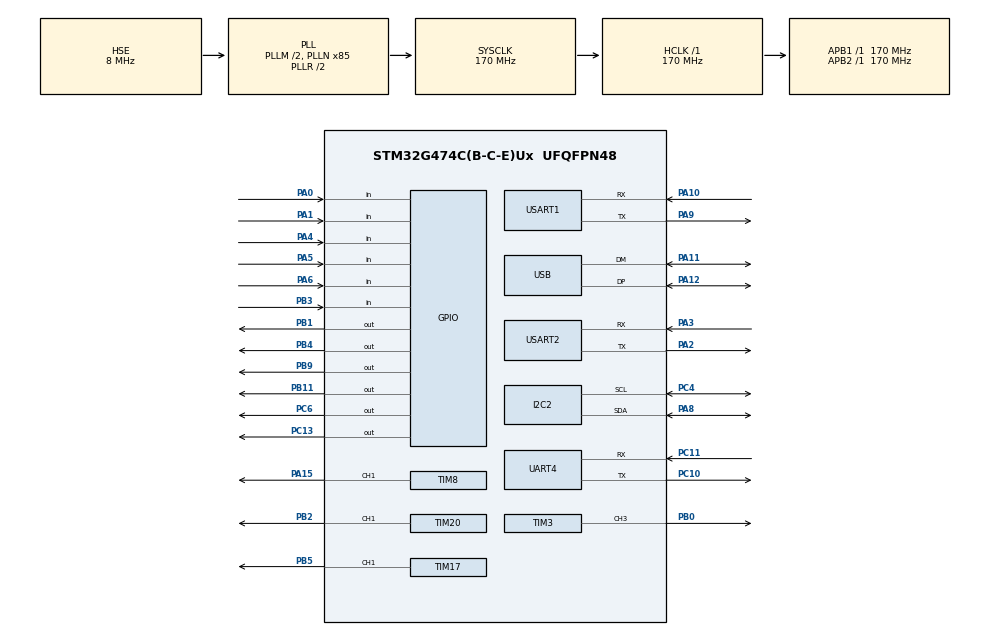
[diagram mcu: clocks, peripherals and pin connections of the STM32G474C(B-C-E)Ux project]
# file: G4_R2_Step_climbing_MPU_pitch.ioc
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I2C2.Timing=0x40B285C2
Mcu.Family=STM32G4
Mcu.Name=STM32G474C(B-C-E)Ux
Mcu.Package=UFQFPN48
NVIC.PriorityGroup=NVIC_PRIORITYGROUP_4
NVIC.UART4_IRQn=true\:0\:0\:false\:false\:true\:true\:true\:true
NVIC.USART1_IRQn=true\:0\:0\:false\:false\:true\:true\:true\:true
NVIC.USART2_IRQn=true\:0\:0\:false\:false\:true\:true\:true\:true
NVIC.USB_LP_IRQn=true\:0\:0\:false\:false\:true\:false\:true\:true
PA0.Signal=GPIO_Input
PA1.Signal=GPIO_Input
PA10.Mode=Asynchronous
PA10.Signal=USART1_RX
PA11.Mode=Device
PA11.Signal=USB_DM
PA12.Mode=Device
PA12.Signal=USB_DP
PA15.Signal=S_TIM8_CH1
PA2.Mode=Asynchronous
PA2.Signal=USART2_TX
PA3.Mode=Asynchronous
PA3.Signal=USART2_RX
PA4.Signal=GPIO_Input
PA5.Signal=GPIO_Input
PA6.Signal=GPIO_Input
PA8.Mode=I2C
PA8.Signal=I2C2_SDA
PA9.Mode=Asynchronous
PA9.Signal=USART1_TX
PB0.Signal=S_TIM3_CH3
PB1.Signal=GPIO_Output
PB11.Signal=GPIO_Output
PB2.Signal=S_TIM20_CH1
PB3.Signal=GPIO_Input
PB4.Signal=GPIO_Output
PB5.Signal=S_TIM17_CH1
PB9.Signal=GPIO_Output
PC10.Mode=Asynchronous
PC10.Signal=UART4_TX
PC11.Mode=Asynchronous
PC11.Signal=UART4_RX
PC13.Signal=GPIO_Output
PC4.Mode=I2C
PC4.Signal=I2C2_SCL
PC6.Signal=GPIO_Output
PF0-OSC_IN.Mode=HSE-External-Oscillator
PF0-OSC_IN.Signal=RCC_OSC_IN
PF1-OSC_OUT.Mode=HSE-External-Oscillator
PF1-OSC_OUT.Signal=RCC_OSC_OUT
ProjectManager.HeapSize=0x200
ProjectManager.StackSize=0x400
ProjectManager.TargetToolchain=STM32CubeIDE
RCC.ADC12Freq_Value=170000000
RCC.ADC345Freq_Value=170000000
RCC.AHBFreq_Value=170000000
RCC.APB1Freq_Value=170000000
RCC.APB1TimFreq_Value=170000000
RCC.APB2Freq_Value=170000000
RCC.APB2TimFreq_Value=170000000
RCC.CK48CLockSelection=RCC_USBCLKSOURCE_HSI48
RCC.CortexFreq_Value=170000000
RCC.EXTERNAL_CLOCK_VALUE=12288000
RCC.EnbaleCSS=true
RCC.HCLKFreq_Value=170000000
RCC.HSE_VALUE=8000000
RCC.HSI48_VALUE=48000000
RCC.HSI_VALUE=16000000
RCC.LSE_VALUE=32768
RCC.PLLM=RCC_PLLM_DIV2
RCC.PLLN=85
RCC.PLLSourceVirtual=RCC_PLLSOURCE_HSE
RCC.SYSCLKFreq_VALUE=170000000
RCC.SYSCLKSource=RCC_SYSCLKSOURCE_PLLCLK
RCC.USBFreq_Value=48000000
RCC.VCOOutputFreq_Value=340000000
SH.S_TIM17_CH1.0=TIM17_CH1,PWM Generation1 CH1
SH.S_TIM20_CH1.0=TIM20_CH1,PWM Generation1 CH1
SH.S_TIM3_CH3.0=TIM3_CH3,PWM Generation3 CH3
SH.S_TIM8_CH1.0=TIM8_CH1,PWM Generation1 CH1
TIM17.Channel=TIM_CHANNEL_1
TIM17.PeriodNoDither=500
TIM17.Prescaler=7
TIM20.Channel-PWM\ Generation1\ CH1=TIM_CHANNEL_1
TIM20.PeriodNoDither=500
TIM20.Prescaler=7
TIM3.Channel-PWM\ Generation3\ CH3=TIM_CHANNEL_3
TIM3.PeriodNoDither=500
TIM3.Prescaler=7
TIM8.Channel-PWM\ Generation1\ CH1=TIM_CHANNEL_1
TIM8.PeriodNoDither=500
TIM8.Prescaler=7
USART1.VirtualMode-Asynchronous=VM_ASYNC
USART2.VirtualMode-Asynchronous=VM_ASYNC
USB_DEVICE.CLASS_NAME_FS=CDC
USB_DEVICE.VirtualMode=Cdc
USB_DEVICE.VirtualModeFS=Cdc_FS
VP_SYS_VS_DBSignals.Mode=DisableDeadBatterySignals
VP_TIM17_VS_ClockSourceINT.Mode=Enable_Timer
VP_USB_DEVICE_VS_USB_DEVICE_CDC_FS.Mode=CDC_FS
board=custom

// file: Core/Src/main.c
/* USER CODE BEGIN Header */
/**
  ******************************************************************************
  * @file           : main.c
  * @brief          : Main program body
  ******************************************************************************
  * @attention
  *
  * Copyright (c) 2026 STMicroelectronics.
  * All rights reserved.
  *
  * This software is licensed under terms that can be found in the LICENSE file
  * in the root directory of this software component.
  * If no LICENSE file comes with this software, it is provided AS-IS.
  *
  ******************************************************************************
  */
/* USER CODE END Header */
#include "main.h"
#include "usb_device.h"

/* USER CODE BEGIN Includes */
#include "usbd_cdc_if.h"
#include "string.h"
#include "math.h"
#include "stdio.h"
/* USER CODE END Includes */

/* USER CODE BEGIN PTD */
/* ---- MPU6050 register map ---- */
#define MPU6050_ADDR        0xD0
#define WHO_AM_I_REG        0x75
#define PWR_MGMT_1_REG      0x6B
#define SMPLRT_DIV_REG      0x19
#define ACCEL_CONFIG_REG    0x1C
#define GYRO_CONFIG_REG     0x1B
#define ACCEL_XOUT_H_REG    0x3B
#define GYRO_XOUT_H_REG     0x43

#define RAD_TO_DEG  57.2957795f
#define INPUT_MAX   1000
#define PWM_MAX     999
/* USER CODE END PTD */

I2C_HandleTypeDef hi2c2;

TIM_HandleTypeDef htim3;
TIM_HandleTypeDef htim8;
TIM_HandleTypeDef htim17;
TIM_HandleTypeDef htim20;

UART_HandleTypeDef huart4;
UART_HandleTypeDef huart1;
UART_HandleTypeDef huart2;

/* USER CODE BEGIN PV */

/* ---- LIDAR 1 (USART1) ---- */
uint8_t  rx1_byte;
uint8_t  tf1_frame[9];
uint8_t  tf1_index      = 0;
volatile uint8_t  tf1_ready     = 0;
volatile uint16_t distance1_mm  = 0;

/* ---- LIDAR 2 (USART2) ---- */
uint8_t  rx2_byte;
uint8_t  tf2_frame[9];
uint8_t  tf2_index      = 0;
volatile uint8_t  tf2_ready     = 0;
volatile uint16_t distance2_mm  = 0;

/* ---- Distance display (integer + fractional metres) ---- */
uint16_t m_int1 = 0, m_frac1 = 0;
uint16_t m_int2 = 0, m_frac2 = 0;

/* ---- UART4 joystick receive ---- */
char     Rx_buff[64];
uint8_t  rx_index       = 0;
volatile uint8_t uart_line_ready = 0;

/* ---- USB joystick receive ---- */
char USB_Rx_buff[64];
volatile uint8_t usb_line_ready = 0;

/* ---- Joystick axes ---- */
int lx = 0, ly = 0, rx_joy = 0, ry = 0;   /* renamed rx → rx_joy (avoids clash with UART handle) */
int l1 = 0, r1 = 0, l2 = 0, r2 = 0;

/* ---- Mecanum motor values ---- */
int32_t        mFL, mFR, mBL, mBR;
uint16_t       pwmFL, pwmFR, pwmBL, pwmBR;
GPIO_PinState  dirFL, dirFR, dirBL, dirBR;

/* ---- MPU6050 raw ---- */
int16_t Accel_X_RAW = 0, Accel_Y_RAW = 0, Accel_Z_RAW = 0;
int16_t Gyro_X_RAW  = 0, Gyro_Y_RAW  = 0, Gyro_Z_RAW  = 0;

/* ---- MPU6050 processed ---- */
float Ax, Ay, Az;
float Gx, Gy, Gz;

/* ---- Gyro offsets (set during calibration) ---- */
float gyro_x_offset = 0.0f;
float gyro_y_offset = 0.0f;
float gyro_z_offset = 0.0f;

/* ---- Accelerometer angles ---- */
float roll_acc  = 0.0f;
float pitch_acc = 0.0f;

/* ---- Final angles (complementary filter) ---- */
float roll  = 0.0f;
float pitch = 0.0f;
float yaw   = 0.0f;

/* yaw cannot be corrected by accel — pure gyro integration */
float yaw_gyro = 0.0f;

/* Complementary filter weight (0.96 = trust gyro 96 %, accel 4 %) */
#define CF_ALPHA  0.96f

/* ---- IMU timing ---- */
uint32_t imu_last_tick = 0;
float    imu_dt        = 0.0f;

/* ---- Yaw PID ---- */
float targetYaw     = 0.0f;
float yaw_error     = 0.0f;
float yaw_prev_error= 0.0f;
float yaw_integral  = 0.0f;
uint32_t prevYawTime = 0;

float kp = 7.0f;
float ki = 0.0f;
float kd = 0.0f;

/* ---- Misc ---- */
uint8_t check = 0;
uint8_t Data  = 0;
char    cdc_buf[160];   /* single shared CDC TX buffer — sized for full debug line */
uint32_t last_cmd_time = 0;

/* Proximity Sensors */
#define PROX_FRONT_1_PORT GPIOA
#define PROX_FRONT_1_PIN  GPIO_PIN_4

#define PROX_FRONT_2_PORT GPIOA
#define PROX_FRONT_2_PIN  GPIO_PIN_6

#define PROX_REAR_1_PORT  GPIOA
#define PROX_REAR_1_PIN   GPIO_PIN_5

#define PROX_REAR_2_PORT  GPIOB
#define PROX_REAR_2_PIN   GPIO_PIN_3

#define WEAPON_PROX_PORT  GPIOA
#define WEAPON_PROX_PIN   GPIO_PIN_0
/* USER CODE END PV */

void SystemClock_Config(void);
static void MX_GPIO_Init(void);
static void MX_USART1_UART_Init(void);
static void MX_I2C2_Init(void);
static void MX_TIM3_Init(void);
static void MX_TIM8_Init(void);
static void MX_TIM17_Init(void);
static void MX_TIM20_Init(void);
static void MX_USART2_UART_Init(void);
static void MX_UART4_Init(void);
/* USER CODE BEGIN PFP */
void MPU6050_Init(void);
void MPU6050_Calibrate(void);
void MPU6050_Read_All(void);
void Calculate_Angles(void);
void Yaw_Stabilization_Update(void);
void Holonomic_Mix(void);
void Motor_Write(void);
/* USER CODE END PFP */

/* USER CODE BEGIN 0 */
/////---------Arduino Friendly function----------
//void digitalWrite(char pin, uint8_t num , uint8_t val ){
//
//	HAL_GPIO_WritePin(GPIO*(pin), GPIO_PIN_*(num), SET ?: RESET);
//
//}

static int fmt_float(char *out, float v, int width, int dec2)
{
    /* dec2: number of decimal places (max 2 here) */
    int neg = (v < 0.0f);
    if (neg) v = -v;

    int i_part = (int)v;
    int f_part;
    if (dec2 == 2) f_part = (int)((v - i_part) * 100.0f + 0.5f);
    else           f_part = (int)((v - i_part) * 10.0f  + 0.5f);

    /* handle rounding carry */
    int f_max = (dec2 == 2) ? 100 : 10;
    if (f_part >= f_max) { i_part++; f_part = 0; }

    if (dec2 == 2)
        return snprintf(out, (size_t)(width + 6), "%s%d.%02d", neg ? "-" : "", i_part, f_part);
    else
        return snprintf(out, (size_t)(width + 5), "%s%d.%01d", neg ? "-" : "", i_part, f_part);
}

/* ------------------------------------------------------------------ */
/*  MPU6050 init                                                       */
/* ------------------------------------------------------------------ */
void MPU6050_Init(void)
{
    HAL_StatusTypeDef ret;

    /* Brief delay so USB CDC has time to enumerate before we spam it */
    HAL_Delay(1500);

    int len = snprintf(cdc_buf, sizeof(cdc_buf), "\r\n=== MPU6050 Init ===\r\n");
    CDC_Transmit_FS((uint8_t*)cdc_buf, len);
    HAL_Delay(50);

    ret = HAL_I2C_IsDeviceReady(&hi2c2, MPU6050_ADDR, 3, 1000);
    if (ret == HAL_OK){
     	HAL_GPIO_WritePin(GPIOB,GPIO_PIN_11,RESET);
     }

    if (ret != HAL_OK)
    {
    	HAL_GPIO_WritePin(GPIOB,GPIO_PIN_11,SET);
        len = snprintf(cdc_buf, sizeof(cdc_buf), "ERR: I2C not ready (%d)\r\n", ret);
        CDC_Transmit_FS((uint8_t*)cdc_buf, len);
        return;
    }

    ret = HAL_I2C_Mem_Read(&hi2c2, MPU6050_ADDR, WHO_AM_I_REG, 1, &check, 1, 1000);
    len = snprintf(cdc_buf, sizeof(cdc_buf), "WHO_AM_I = 0x%02X  (expect 0x68)  ret=%d\r\n", check, ret);
    CDC_Transmit_FS((uint8_t*)cdc_buf, len);
    HAL_Delay(50);

    if (check != 0x68)
    {
    	HAL_GPIO_WritePin(GPIOB,GPIO_PIN_11,SET);
    	len = snprintf(cdc_buf, sizeof(cdc_buf), "ERR: wrong WHO_AM_I — check wiring\r\n");
        CDC_Transmit_FS((uint8_t*)cdc_buf, len);
        return;
    }

    /* Wake up */
    Data = 0x00;
    HAL_I2C_Mem_Write(&hi2c2, MPU6050_ADDR, PWR_MGMT_1_REG,  1, &Data, 1, 1000);
    /* Sample rate divider → 1 kHz / (7+1) = 125 Hz */
    Data = 0x07;
    HAL_I2C_Mem_Write(&hi2c2, MPU6050_ADDR, SMPLRT_DIV_REG,  1, &Data, 1, 1000);
    /* Accel ±2 g */
    Data = 0x00;
    HAL_I2C_Mem_Write(&hi2c2, MPU6050_ADDR, ACCEL_CONFIG_REG, 1, &Data, 1, 1000);
    /* Gyro ±250 °/s */
    Data = 0x00;
    HAL_I2C_Mem_Write(&hi2c2, MPU6050_ADDR, GYRO_CONFIG_REG,  1, &Data, 1, 1000);

    imu_last_tick = HAL_GetTick();   /* seed the dt timer here, after config */

    len = snprintf(cdc_buf, sizeof(cdc_buf), "MPU6050 OK\r\n");
    CDC_Transmit_FS((uint8_t*)cdc_buf, len);
    HAL_Delay(50);
}

/* ------------------------------------------------------------------ */
/*  Calibration — collect 500 samples for all 3 gyro axes             */
/*  Keep Delays short; no watchdog here so 500×4 ms = 2 s is safe     */
/* ------------------------------------------------------------------ */
void MPU6050_Calibrate(void)
{
    const int N = 500;
    float sx = 0, sy = 0, sz = 0;
    uint8_t rec[6];

    int len = snprintf(cdc_buf, sizeof(cdc_buf), "Calibrating gyro (%d samples)...\r\n", N);
    CDC_Transmit_FS((uint8_t*)cdc_buf, len);

    for (int i = 0; i < N; i++)
    {
        HAL_I2C_Mem_Read(&hi2c2, MPU6050_ADDR, GYRO_XOUT_H_REG, 1, rec, 6, 100);
        sx += (int16_t)(rec[0] << 8 | rec[1]) / 131.0f;
        sy += (int16_t)(rec[2] << 8 | rec[3]) / 131.0f;
        sz += (int16_t)(rec[4] << 8 | rec[5]) / 131.0f;
        HAL_Delay(4);
    }

    gyro_x_offset = sx / N;
    gyro_y_offset = sy / N;
    gyro_z_offset = sz / N;

    len = snprintf(cdc_buf, sizeof(cdc_buf), "Gyro offsets: Gx=");
    len += fmt_float(cdc_buf + len, gyro_x_offset, 4, 2);
    len += snprintf(cdc_buf + len, sizeof(cdc_buf) - len, " Gy=");
    len += fmt_float(cdc_buf + len, gyro_y_offset, 4, 2);
    len += snprintf(cdc_buf + len, sizeof(cdc_buf) - len, " Gz=");
    len += fmt_float(cdc_buf + len, gyro_z_offset, 4, 2);
    len += snprintf(cdc_buf + len, sizeof(cdc_buf) - len, " deg/s\r\n");
    CDC_Transmit_FS((uint8_t*)cdc_buf, len);
    HAL_Delay(50);

    /* Seed the IMU timer so first dt is clean */
    imu_last_tick = HAL_GetTick();
}

/* ------------------------------------------------------------------ */
/*  Read all sensor data                                               */
/* ------------------------------------------------------------------ */
void MPU6050_Read_All(void)
{
    uint8_t rec[14];
    /* Read accel (6) + temp (2) + gyro (6) in one burst for consistency */
    HAL_I2C_Mem_Read(&hi2c2, MPU6050_ADDR, ACCEL_XOUT_H_REG, 1, rec, 14, 100);

    Accel_X_RAW = (int16_t)(rec[0]  << 8 | rec[1]);
    Accel_Y_RAW = (int16_t)(rec[2]  << 8 | rec[3]);
    Accel_Z_RAW = (int16_t)(rec[4]  << 8 | rec[5]);
    /* rec[6..7] = temp, skip */
    Gyro_X_RAW  = (int16_t)(rec[8]  << 8 | rec[9]);
    Gyro_Y_RAW  = (int16_t)(rec[10] << 8 | rec[11]);
    Gyro_Z_RAW  = (int16_t)(rec[12] << 8 | rec[13]);

    Ax = Accel_X_RAW / 16384.0f;
    Ay = Accel_Y_RAW / 16384.0f;
    Az = Accel_Z_RAW / 16384.0f;

    /* Apply calibration offsets */
    Gx = (Gyro_X_RAW / 131.0f) - gyro_x_offset;
    Gy = (Gyro_Y_RAW / 131.0f) - gyro_y_offset;
    Gz = (Gyro_Z_RAW / 131.0f) - gyro_z_offset;
}

/* ------------------------------------------------------------------ */
/*  Complementary filter                                               */
/* ------------------------------------------------------------------ */
void Calculate_Angles(void)
{
    uint32_t now = HAL_GetTick();
    imu_dt = (now - imu_last_tick) / 1000.0f;
    imu_last_tick = now;

    /* Guard against first-call spike or stall */
    if (imu_dt <= 0.0f || imu_dt > 0.5f) imu_dt = 0.01f;

    /* Accel angles */
    roll_acc  =  atan2f(Ay, sqrtf(Ax*Ax + Az*Az)) * RAD_TO_DEG;
    pitch_acc = -atan2f(Ax, sqrtf(Ay*Ay + Az*Az)) * RAD_TO_DEG;

    /* Complementary filter — single integration, offsets already removed */
    roll  = CF_ALPHA * (roll  + Gx * imu_dt) + (1.0f - CF_ALPHA) * roll_acc;
    pitch = CF_ALPHA * (pitch + Gy * imu_dt) + (1.0f - CF_ALPHA) * pitch_acc;

    /* Yaw — pure gyro, no accel correction possible */
    yaw_gyro += Gz * imu_dt;
    yaw = yaw_gyro;
}

/* ------------------------------------------------------------------ */
/*  Yaw stabilisation PID (rx_joy is the rotation demand)             */
/* ------------------------------------------------------------------ */
void Yaw_Stabilization_Update(void)
{
    uint32_t now  = HAL_GetTick();
    float    dt_y = (now - prevYawTime) / 1000.0f;
    prevYawTime   = now;
    if (dt_y <= 0.0f || dt_y > 0.5f) dt_y = 0.01f;

    uint8_t rotating    = (abs(rx_joy) > 8);
    uint8_t translating = (abs(lx) > 5 || abs(ly) > 5);

    if (rotating)
    {
        rx_joy = (int)(rx_joy*0.9f);
        targetYaw      = yaw;
        yaw_integral   = 0.0f;
        yaw_prev_error = 0.0f;
    }
    else
    {
        rx_joy = 0;

        if (translating)
        {
            yaw_error = targetYaw - yaw;
            if (yaw_error >  180.0f) yaw_error -= 360.0f;
            if (yaw_error < -180.0f) yaw_error += 360.0f;

            yaw_integral += yaw_error * dt_y;
            float deriv   = (yaw_error - yaw_prev_error) / dt_y;
            rx_joy        = -(int)(kp*yaw_error + ki*yaw_integral + kd*deriv);
            yaw_prev_error = yaw_error;
        }
        else
        {
            targetYaw      = yaw;
            yaw_integral   = 0.0f;
            yaw_prev_error = 0.0f;
        }
    }
}

/* ------------------------------------------------------------------ */
/*  Mecanum kinematics                                                 */
/* ------------------------------------------------------------------ */
void Holonomic_Mix(void)
{
//    mFL =  ly - lx + rx_joy;
//    mFR =  ly + lx - rx_joy;
//    mBL =  ly + lx + rx_joy;
//    mBR =  ly - lx - rx_joy;

    mFL = ly+lx+rx_joy;
    mFR = ly-lx-rx_joy;
    mBL = ly-lx+rx_joy;
    mBR = ly+lx-rx_joy;

    int32_t maxVal = abs(mFL);
    if (abs(mFR) > maxVal) maxVal = abs(mFR);
    if (abs(mBL) > maxVal) maxVal = abs(mBL);
    if (abs(mBR) > maxVal) maxVal = abs(mBR);

    if (maxVal > INPUT_MAX)
    {
        mFL = (mFL * INPUT_MAX) / maxVal;
        mFR = (mFR * INPUT_MAX) / maxVal;
        mBL = (mBL * INPUT_MAX) / maxVal;
        mBR = (mBR * INPUT_MAX) / maxVal;
    }

    dirFL = (mFL >= 0) ? GPIO_PIN_SET : GPIO_PIN_RESET;
    dirFR = (mFR >= 0) ? GPIO_PIN_SET : GPIO_PIN_RESET;
    dirBL = (mBL >= 0) ? GPIO_PIN_SET : GPIO_PIN_RESET;
    dirBR = (mBR >= 0) ? GPIO_PIN_SET : GPIO_PIN_RESET;

    pwmFL = (uint16_t)abs(mFL);
    pwmFR = (uint16_t)abs(mFR);
    pwmBL = (uint16_t)abs(mBL);
    pwmBR = (uint16_t)abs(mBR);
}

void Motor_Write(void)
{
    HAL_GPIO_WritePin(GPIOC, GPIO_PIN_13, dirFL);
    HAL_GPIO_WritePin(GPIOB, GPIO_PIN_1,  dirFR);
    HAL_GPIO_WritePin(GPIOB, GPIO_PIN_9,  dirBL);
    HAL_GPIO_WritePin(GPIOB, GPIO_PIN_4,  dirBR);

    __HAL_TIM_SET_COMPARE(&htim20, TIM_CHANNEL_1, pwmFL);
    __HAL_TIM_SET_COMPARE(&htim3,  TIM_CHANNEL_3, pwmFR);
    __HAL_TIM_SET_COMPARE(&htim17, TIM_CHANNEL_1, pwmBL);
    __HAL_TIM_SET_COMPARE(&htim8,  TIM_CHANNEL_1, pwmBR);
}

void Stop(){

    __HAL_TIM_SET_COMPARE(&htim20, TIM_CHANNEL_1, 0);
    __HAL_TIM_SET_COMPARE(&htim3,  TIM_CHANNEL_3, 0);
    __HAL_TIM_SET_COMPARE(&htim17, TIM_CHANNEL_1, 0);
    __HAL_TIM_SET_COMPARE(&htim8,  TIM_CHANNEL_1, 0);

}

/* USER CODE END 0 */

int main(void)
{

  /* MCU Configuration--------------------------------------------------------*/

  /* Reset of all peripherals, Initializes the Flash interface and the Systick. */
  HAL_Init();

  /* Configure the system clock */
  SystemClock_Config();

  /* Initialize all configured peripherals */
  MX_GPIO_Init();
  MX_USART1_UART_Init();
  MX_USB_Device_Init();
  MX_I2C2_Init();
  MX_TIM3_Init();
  MX_TIM8_Init();
  MX_TIM17_Init();
  MX_TIM20_Init();
  MX_USART2_UART_Init();
  MX_UART4_Init();
  /* USER CODE BEGIN 2 */
  HAL_UART_Receive_IT(&huart1, &rx1_byte, 1);
  HAL_UART_Receive_IT(&huart2, &rx2_byte, 1);
  HAL_UART_Receive_IT(&huart4, (uint8_t*)&Rx_buff[rx_index], 1);

  MPU6050_Init();
  MPU6050_Calibrate();

  HAL_TIM_PWM_Start(&htim20, TIM_CHANNEL_1);
  HAL_TIM_PWM_Start(&htim3,  TIM_CHANNEL_3);
  HAL_TIM_PWM_Start(&htim17, TIM_CHANNEL_1);
  HAL_TIM_PWM_Start(&htim8,  TIM_CHANNEL_1);

  prevYawTime = HAL_GetTick();
  /* USER CODE END 2 */

  /* Infinite loop */
  /* USER CODE BEGIN WHILE */
  while (1)
  {  /* --- IMU --- */
      MPU6050_Read_All();
      Calculate_Angles();

      static uint32_t i2cCheckTick = 0;

      if(HAL_GetTick() - i2cCheckTick >= 500)
      {
          i2cCheckTick = HAL_GetTick();

          if(HAL_I2C_IsDeviceReady(&hi2c2, MPU6050_ADDR, 1, 10) == HAL_OK)
          {
              HAL_GPIO_WritePin(GPIOB, GPIO_PIN_11, GPIO_PIN_RESET);
          }
          else
          {
              HAL_GPIO_WritePin(GPIOB, GPIO_PIN_11, GPIO_PIN_SET);
          }
      }

      /* --- Yaw PID --- */

      /* --- LIDAR 1 --- */
      if (tf1_ready)
      {
          tf1_ready = 0;
          m_int1  = distance1_mm / 1000;
          m_frac1 = distance1_mm % 1000;
      }

      /* --- LIDAR 2 --- */
      if (tf2_ready)
      {
          tf2_ready = 0;
          m_int2  = distance2_mm / 1000;
          m_frac2 = distance2_mm % 1000;
      }

      /* --- Joystick / motor --- */
      if (uart_line_ready)
      {
          uart_line_ready = 0;
          if (sscanf(Rx_buff, "%d,%d,%d,%d,%d,%d,%d,%d",
                     &lx, &ly, &rx_joy, &ry, &l2, &r2, &l1, &r1) == 8)
          {
        	  last_cmd_time = HAL_GetTick();
        	  Yaw_Stabilization_Update();
              Holonomic_Mix();
              Motor_Write();

          }
      }

      if (usb_line_ready)
           {
               usb_line_ready = 0;

               if (sscanf(USB_Rx_buff,
                          "%d,%d,%d,%d,%d,%d,%d,%d",
                          &lx,
                          &ly,
                          &rx_joy,
                          &ry,
                          &l2,
                          &r2,
                          &l1,
                          &r1) == 8)
               {
            	   last_cmd_time = HAL_GetTick();
                   Yaw_Stabilization_Update();
                   Holonomic_Mix();
                   Motor_Write();

               }
           }
      /* --- Connection Failsafe (Timeout Watchdog) --- */
            // If 500 milliseconds have passed without receiving a valid command...
            if ((HAL_GetTick() - last_cmd_time) > 500)
            {
                Stop(); // Stop the motors

                // Reset joystick values to zero so it doesn't suddenly lurch
                // if the connection briefly drops and reconnects
                lx = 0;
                ly = 0;
                rx_joy = 0;
                ry = 0;

                // Optional: Toggle your warning LED without using HAL_Delay
                static uint32_t ledTick = 0;
                if (HAL_GetTick() - ledTick >= 200) {
                    ledTick = HAL_GetTick();
                    HAL_GPIO_TogglePin(GPIOB, GPIO_PIN_11);
                }
            }

      /* --- CDC debug print @ 10 Hz --- */
      static uint32_t dbgTick = 0;
      if (HAL_GetTick() - dbgTick >= 100)
      {
          dbgTick = HAL_GetTick();

          /*
           * Output format (fixed-width columns, easy to parse or watch on terminal):
           *
           * D1:  1.234m  D2:  0.876m | LX: -123  LY:  456  RX:   12 | R: -12.34  P:   5.67  Y: 123.45
           *
           * Floats are formatted without %f to be safe on all ARM-GCC configs.
           */

          /* Build roll/pitch/yaw strings */
          char s_roll[10], s_pitch[10], s_yaw[10];
          fmt_float(s_roll,  roll,  5, 2);
          fmt_float(s_pitch, pitch, 5, 2);
          fmt_float(s_yaw,   yaw,   6, 2);

          int len = snprintf(cdc_buf, sizeof(cdc_buf),
              "D1:%2u.%03um D2:%2u.%03um | LX:%5d LY:%5d RX:%5d | R:%s P:%s Y:%s\r\n",
              m_int1, m_frac1,
              m_int2, m_frac2,
              lx, ly, rx_joy,
              s_roll, s_pitch, s_yaw);

          CDC_Transmit_FS((uint8_t*)cdc_buf, (uint16_t)len);
          HAL_Delay(1);
          len = snprintf(cdc_buf, sizeof(cdc_buf),
                         "<PROX:%d,%d,%d,%d>\r\n",
                         HAL_GPIO_ReadPin(PROX_FRONT_1_PORT, PROX_FRONT_1_PIN),
                         HAL_GPIO_ReadPin(PROX_FRONT_2_PORT, PROX_FRONT_2_PIN),
                         HAL_GPIO_ReadPin(PROX_REAR_1_PORT,  PROX_REAR_1_PIN),
                         HAL_GPIO_ReadPin(PROX_REAR_2_PORT,  PROX_REAR_2_PIN));

          CDC_Transmit_FS((uint8_t*)cdc_buf, len);

          HAL_Delay(1);

          len = snprintf(cdc_buf, sizeof(cdc_buf),
                         "<WPROX:%d>\r\n",
                         HAL_GPIO_ReadPin(WEAPON_PROX_PORT, WEAPON_PROX_PIN));

          CDC_Transmit_FS((uint8_t*)cdc_buf, len);
      }

    /* USER CODE END WHILE */

  }
}

void SystemClock_Config(void)
{
  RCC_OscInitTypeDef RCC_OscInitStruct = {0};
  RCC_ClkInitTypeDef RCC_ClkInitStruct = {0};

  /** Configure the main internal regulator output voltage
  */
  HAL_PWREx_ControlVoltageScaling(PWR_REGULATOR_VOLTAGE_SCALE1_BOOST);

  /** Initializes the RCC Oscillators according to the specified parameters
  * in the RCC_OscInitTypeDef structure.
  */
  RCC_OscInitStruct.OscillatorType = RCC_OSCILLATORTYPE_HSI48|RCC_OSCILLATORTYPE_HSE;
  RCC_OscInitStruct.HSEState = RCC_HSE_ON;
  RCC_OscInitStruct.HSI48State = RCC_HSI48_ON;
  RCC_OscInitStruct.PLL.PLLState = RCC_PLL_ON;
  RCC_OscInitStruct.PLL.PLLSource = RCC_PLLSOURCE_HSE;
  RCC_OscInitStruct.PLL.PLLM = RCC_PLLM_DIV2;
  RCC_OscInitStruct.PLL.PLLN = 85;
  RCC_OscInitStruct.PLL.PLLP = RCC_PLLP_DIV2;
  RCC_OscInitStruct.PLL.PLLQ = RCC_PLLQ_DIV2;
  RCC_OscInitStruct.PLL.PLLR = RCC_PLLR_DIV2;
  if (HAL_RCC_OscConfig(&RCC_OscInitStruct) != HAL_OK)
  {
    Error_Handler();
  }

  /** Initializes the CPU, AHB and APB buses clocks
  */
  RCC_ClkInitStruct.ClockType = RCC_CLOCKTYPE_HCLK|RCC_CLOCKTYPE_SYSCLK
                              |RCC_CLOCKTYPE_PCLK1|RCC_CLOCKTYPE_PCLK2;
  RCC_ClkInitStruct.SYSCLKSource = RCC_SYSCLKSOURCE_PLLCLK;
  RCC_ClkInitStruct.AHBCLKDivider = RCC_SYSCLK_DIV1;
  RCC_ClkInitStruct.APB1CLKDivider = RCC_HCLK_DIV1;
  RCC_ClkInitStruct.APB2CLKDivider = RCC_HCLK_DIV1;

  if (HAL_RCC_ClockConfig(&RCC_ClkInitStruct, FLASH_LATENCY_4) != HAL_OK)
  {
    Error_Handler();
  }

  /** Enables the Clock Security System
  */
  HAL_RCC_EnableCSS();
}

static void MX_I2C2_Init(void)
{

  hi2c2.Instance = I2C2;
  hi2c2.Init.Timing = 0x40B285C2;
  hi2c2.Init.OwnAddress1 = 0;
  hi2c2.Init.AddressingMode = I2C_ADDRESSINGMODE_7BIT;
  hi2c2.Init.DualAddressMode = I2C_DUALADDRESS_DISABLE;
  hi2c2.Init.OwnAddress2 = 0;
  hi2c2.Init.OwnAddress2Masks = I2C_OA2_NOMASK;
  hi2c2.Init.GeneralCallMode = I2C_GENERALCALL_DISABLE;
  hi2c2.Init.NoStretchMode = I2C_NOSTRETCH_DISABLE;
  if (HAL_I2C_Init(&hi2c2) != HAL_OK)
  {
    Error_Handler();
  }

  /** Configure Analogue filter
  */
  if (HAL_I2CEx_ConfigAnalogFilter(&hi2c2, I2C_ANALOGFILTER_ENABLE) != HAL_OK)
  {
    Error_Handler();
  }

  /** Configure Digital filter
  */
  if (HAL_I2CEx_ConfigDigitalFilter(&hi2c2, 0) != HAL_OK)
  {
    Error_Handler();
  }

}

static void MX_TIM3_Init(void)
{

  TIM_MasterConfigTypeDef sMasterConfig = {0};
  TIM_OC_InitTypeDef sConfigOC = {0};

  htim3.Instance = TIM3;
  htim3.Init.Prescaler = 7;
  htim3.Init.CounterMode = TIM_COUNTERMODE_UP;
  htim3.Init.Period = 500;
  htim3.Init.ClockDivision = TIM_CLOCKDIVISION_DIV1;
  htim3.Init.AutoReloadPreload = TIM_AUTORELOAD_PRELOAD_DISABLE;
  if (HAL_TIM_PWM_Init(&htim3) != HAL_OK)
  {
    Error_Handler();
  }
  sMasterConfig.MasterOutputTrigger = TIM_TRGO_RESET;
  sMasterConfig.MasterSlaveMode = TIM_MASTERSLAVEMODE_DISABLE;
  if (HAL_TIMEx_MasterConfigSynchronization(&htim3, &sMasterConfig) != HAL_OK)
  {
    Error_Handler();
  }
  sConfigOC.OCMode = TIM_OCMODE_PWM1;
  sConfigOC.Pulse = 0;
  sConfigOC.OCPolarity = TIM_OCPOLARITY_HIGH;
  sConfigOC.OCFastMode = TIM_OCFAST_DISABLE;
  if (HAL_TIM_PWM_ConfigChannel(&htim3, &sConfigOC, TIM_CHANNEL_3) != HAL_OK)
  {
    Error_Handler();
  }
  HAL_TIM_MspPostInit(&htim3);

}

static void MX_TIM8_Init(void)
{

  TIM_MasterConfigTypeDef sMasterConfig = {0};
  TIM_OC_InitTypeDef sConfigOC = {0};
  TIM_BreakDeadTimeConfigTypeDef sBreakDeadTimeConfig = {0};

  htim8.Instance = TIM8;
  htim8.Init.Prescaler = 7;
  htim8.Init.CounterMode = TIM_COUNTERMODE_UP;
  htim8.Init.Period = 500;
  htim8.Init.ClockDivision = TIM_CLOCKDIVISION_DIV1;
  htim8.Init.RepetitionCounter = 0;
  htim8.Init.AutoReloadPreload = TIM_AUTORELOAD_PRELOAD_DISABLE;
  if (HAL_TIM_PWM_Init(&htim8) != HAL_OK)
  {
    Error_Handler();
  }
  sMasterConfig.MasterOutputTrigger = TIM_TRGO_RESET;
  sMasterConfig.MasterOutputTrigger2 = TIM_TRGO2_RESET;
  sMasterConfig.MasterSlaveMode = TIM_MASTERSLAVEMODE_DISABLE;
  if (HAL_TIMEx_MasterConfigSynchronization(&htim8, &sMasterConfig) != HAL_OK)
  {
    Error_Handler();
  }
  sConfigOC.OCMode = TIM_OCMODE_PWM1;
  sConfigOC.Pulse = 0;
  sConfigOC.OCPolarity = TIM_OCPOLARITY_HIGH;
  sConfigOC.OCNPolarity = TIM_OCNPOLARITY_HIGH;
  sConfigOC.OCFastMode = TIM_OCFAST_DISABLE;
  sConfigOC.OCIdleState = TIM_OCIDLESTATE_RESET;
  sConfigOC.OCNIdleState = TIM_OCNIDLESTATE_RESET;
  if (HAL_TIM_PWM_ConfigChannel(&htim8, &sConfigOC, TIM_CHANNEL_1) != HAL_OK)
  {
    Error_Handler();
  }
  sBreakDeadTimeConfig.OffStateRunMode = TIM_OSSR_DISABLE;
  sBreakDeadTimeConfig.OffStateIDLEMode = TIM_OSSI_DISABLE;
  sBreakDeadTimeConfig.LockLevel = TIM_LOCKLEVEL_OFF;
  sBreakDeadTimeConfig.DeadTime = 0;
  sBreakDeadTimeConfig.BreakState = TIM_BREAK_DISABLE;
  sBreakDeadTimeConfig.BreakPolarity = TIM_BREAKPOLARITY_HIGH;
  sBreakDeadTimeConfig.BreakFilter = 0;
  sBreakDeadTimeConfig.BreakAFMode = TIM_BREAK_AFMODE_INPUT;
  sBreakDeadTimeConfig.Break2State = TIM_BREAK2_DISABLE;
  sBreakDeadTimeConfig.Break2Polarity = TIM_BREAK2POLARITY_HIGH;
  sBreakDeadTimeConfig.Break2Filter = 0;
  sBreakDeadTimeConfig.Break2AFMode = TIM_BREAK_AFMODE_INPUT;
  sBreakDeadTimeConfig.AutomaticOutput = TIM_AUTOMATICOUTPUT_DISABLE;
  if (HAL_TIMEx_ConfigBreakDeadTime(&htim8, &sBreakDeadTimeConfig) != HAL_OK)
  {
    Error_Handler();
  }
  HAL_TIM_MspPostInit(&htim8);

}

static void MX_TIM17_Init(void)
{

  TIM_OC_InitTypeDef sConfigOC = {0};
  TIM_BreakDeadTimeConfigTypeDef sBreakDeadTimeConfig = {0};

  htim17.Instance = TIM17;
  htim17.Init.Prescaler = 7;
  htim17.Init.CounterMode = TIM_COUNTERMODE_UP;
  htim17.Init.Period = 500;
  htim17.Init.ClockDivision = TIM_CLOCKDIVISION_DIV1;
  htim17.Init.RepetitionCounter = 0;
  htim17.Init.AutoReloadPreload = TIM_AUTORELOAD_PRELOAD_DISABLE;
  if (HAL_TIM_Base_Init(&htim17) != HAL_OK)
  {
    Error_Handler();
  }
  if (HAL_TIM_PWM_Init(&htim17) != HAL_OK)
  {
    Error_Handler();
  }
  sConfigOC.OCMode = TIM_OCMODE_PWM1;
  sConfigOC.Pulse = 0;
  sConfigOC.OCPolarity = TIM_OCPOLARITY_HIGH;
  sConfigOC.OCNPolarity = TIM_OCNPOLARITY_HIGH;
  sConfigOC.OCFastMode = TIM_OCFAST_DISABLE;
  sConfigOC.OCIdleState = TIM_OCIDLESTATE_RESET;
  sConfigOC.OCNIdleState = TIM_OCNIDLESTATE_RESET;
  if (HAL_TIM_PWM_ConfigChannel(&htim17, &sConfigOC, TIM_CHANNEL_1) != HAL_OK)
  {
    Error_Handler();
  }
  sBreakDeadTimeConfig.OffStateRunMode = TIM_OSSR_DISABLE;
  sBreakDeadTimeConfig.OffStateIDLEMode = TIM_OSSI_DISABLE;
  sBreakDeadTimeConfig.LockLevel = TIM_LOCKLEVEL_OFF;
  sBreakDeadTimeConfig.DeadTime = 0;
  sBreakDeadTimeConfig.BreakState = TIM_BREAK_DISABLE;
  sBreakDeadTimeConfig.BreakPolarity = TIM_BREAKPOLARITY_HIGH;
  sBreakDeadTimeConfig.BreakFilter = 0;
  sBreakDeadTimeConfig.AutomaticOutput = TIM_AUTOMATICOUTPUT_DISABLE;
  if (HAL_TIMEx_ConfigBreakDeadTime(&htim17, &sBreakDeadTimeConfig) != HAL_OK)
  {
    Error_Handler();
  }
  HAL_TIM_MspPostInit(&htim17);

}

static void MX_TIM20_Init(void)
{

  TIM_MasterConfigTypeDef sMasterConfig = {0};
  TIM_OC_InitTypeDef sConfigOC = {0};
  TIM_BreakDeadTimeConfigTypeDef sBreakDeadTimeConfig = {0};

  htim20.Instance = TIM20;
  htim20.Init.Prescaler = 7;
  htim20.Init.CounterMode = TIM_COUNTERMODE_UP;
  htim20.Init.Period = 500;
  htim20.Init.ClockDivision = TIM_CLOCKDIVISION_DIV1;
  htim20.Init.RepetitionCounter = 0;
  htim20.Init.AutoReloadPreload = TIM_AUTORELOAD_PRELOAD_DISABLE;
  if (HAL_TIM_PWM_Init(&htim20) != HAL_OK)
  {
    Error_Handler();
  }
  sMasterConfig.MasterOutputTrigger = TIM_TRGO_RESET;
  sMasterConfig.MasterOutputTrigger2 = TIM_TRGO2_RESET;
  sMasterConfig.MasterSlaveMode = TIM_MASTERSLAVEMODE_DISABLE;
  if (HAL_TIMEx_MasterConfigSynchronization(&htim20, &sMasterConfig) != HAL_OK)
  {
    Error_Handler();
  }
  sConfigOC.OCMode = TIM_OCMODE_PWM1;
  sConfigOC.Pulse = 0;
  sConfigOC.OCPolarity = TIM_OCPOLARITY_HIGH;
  sConfigOC.OCNPolarity = TIM_OCNPOLARITY_HIGH;
  sConfigOC.OCFastMode = TIM_OCFAST_DISABLE;
  sConfigOC.OCIdleState = TIM_OCIDLESTATE_RESET;
  sConfigOC.OCNIdleState = TIM_OCNIDLESTATE_RESET;
  if (HAL_TIM_PWM_ConfigChannel(&htim20, &sConfigOC, TIM_CHANNEL_1) != HAL_OK)
  {
    Error_Handler();
  }
  sBreakDeadTimeConfig.OffStateRunMode = TIM_OSSR_DISABLE;
  sBreakDeadTimeConfig.OffStateIDLEMode = TIM_OSSI_DISABLE;
  sBreakDeadTimeConfig.LockLevel = TIM_LOCKLEVEL_OFF;
  sBreakDeadTimeConfig.DeadTime = 0;
  sBreakDeadTimeConfig.BreakState = TIM_BREAK_DISABLE;
  sBreakDeadTimeConfig.BreakPolarity = TIM_BREAKPOLARITY_HIGH;
  sBreakDeadTimeConfig.BreakFilter = 0;
  sBreakDeadTimeConfig.BreakAFMode = TIM_BREAK_AFMODE_INPUT;
  sBreakDeadTimeConfig.Break2State = TIM_BREAK2_DISABLE;
  sBreakDeadTimeConfig.Break2Polarity = TIM_BREAK2POLARITY_HIGH;
  sBreakDeadTimeConfig.Break2Filter = 0;
  sBreakDeadTimeConfig.Break2AFMode = TIM_BREAK_AFMODE_INPUT;
  sBreakDeadTimeConfig.AutomaticOutput = TIM_AUTOMATICOUTPUT_DISABLE;
  if (HAL_TIMEx_ConfigBreakDeadTime(&htim20, &sBreakDeadTimeConfig) != HAL_OK)
  {
    Error_Handler();
  }
  HAL_TIM_MspPostInit(&htim20);

}

static void MX_UART4_Init(void)
{

  huart4.Instance = UART4;
  huart4.Init.BaudRate = 115200;
  huart4.Init.WordLength = UART_WORDLENGTH_8B;
  huart4.Init.StopBits = UART_STOPBITS_1;
  huart4.Init.Parity = UART_PARITY_NONE;
  huart4.Init.Mode = UART_MODE_TX_RX;
  huart4.Init.HwFlowCtl = UART_HWCONTROL_NONE;
  huart4.Init.OverSampling = UART_OVERSAMPLING_16;
  huart4.Init.OneBitSampling = UART_ONE_BIT_SAMPLE_DISABLE;
  huart4.Init.ClockPrescaler = UART_PRESCALER_DIV1;
  huart4.AdvancedInit.AdvFeatureInit = UART_ADVFEATURE_NO_INIT;
  if (HAL_UART_Init(&huart4) != HAL_OK)
  {
    Error_Handler();
  }
  if (HAL_UARTEx_SetTxFifoThreshold(&huart4, UART_TXFIFO_THRESHOLD_1_8) != HAL_OK)
  {
    Error_Handler();
  }
  if (HAL_UARTEx_SetRxFifoThreshold(&huart4, UART_RXFIFO_THRESHOLD_1_8) != HAL_OK)
  {
    Error_Handler();
  }
  if (HAL_UARTEx_DisableFifoMode(&huart4) != HAL_OK)
  {
    Error_Handler();
  }

}

static void MX_USART1_UART_Init(void)
{

  huart1.Instance = USART1;
  huart1.Init.BaudRate = 115200;
  huart1.Init.WordLength = UART_WORDLENGTH_8B;
  huart1.Init.StopBits = UART_STOPBITS_1;
  huart1.Init.Parity = UART_PARITY_NONE;
  huart1.Init.Mode = UART_MODE_TX_RX;
  huart1.Init.HwFlowCtl = UART_HWCONTROL_NONE;
  huart1.Init.OverSampling = UART_OVERSAMPLING_16;
  huart1.Init.OneBitSampling = UART_ONE_BIT_SAMPLE_DISABLE;
  huart1.Init.ClockPrescaler = UART_PRESCALER_DIV1;
  huart1.AdvancedInit.AdvFeatureInit = UART_ADVFEATURE_NO_INIT;
  if (HAL_UART_Init(&huart1) != HAL_OK)
  {
    Error_Handler();
  }
  if (HAL_UARTEx_SetTxFifoThreshold(&huart1, UART_TXFIFO_THRESHOLD_1_8) != HAL_OK)
  {
    Error_Handler();
  }
  if (HAL_UARTEx_SetRxFifoThreshold(&huart1, UART_RXFIFO_THRESHOLD_1_8) != HAL_OK)
  {
    Error_Handler();
  }
  if (HAL_UARTEx_DisableFifoMode(&huart1) != HAL_OK)
  {
    Error_Handler();
  }

}

static void MX_USART2_UART_Init(void)
{

  huart2.Instance = USART2;
  huart2.Init.BaudRate = 115200;
  huart2.Init.WordLength = UART_WORDLENGTH_8B;
  huart2.Init.StopBits = UART_STOPBITS_1;
  huart2.Init.Parity = UART_PARITY_NONE;
  huart2.Init.Mode = UART_MODE_TX_RX;
  huart2.Init.HwFlowCtl = UART_HWCONTROL_NONE;
  huart2.Init.OverSampling = UART_OVERSAMPLING_16;
  huart2.Init.OneBitSampling = UART_ONE_BIT_SAMPLE_DISABLE;
  huart2.Init.ClockPrescaler = UART_PRESCALER_DIV1;
  huart2.AdvancedInit.AdvFeatureInit = UART_ADVFEATURE_NO_INIT;
  if (HAL_UART_Init(&huart2) != HAL_OK)
  {
    Error_Handler();
  }
  if (HAL_UARTEx_SetTxFifoThreshold(&huart2, UART_TXFIFO_THRESHOLD_1_8) != HAL_OK)
  {
    Error_Handler();
  }
  if (HAL_UARTEx_SetRxFifoThreshold(&huart2, UART_RXFIFO_THRESHOLD_1_8) != HAL_OK)
  {
    Error_Handler();
  }
  if (HAL_UARTEx_DisableFifoMode(&huart2) != HAL_OK)
  {
    Error_Handler();
  }

}

static void MX_GPIO_Init(void)
{
  GPIO_InitTypeDef GPIO_InitStruct = {0};

  /* GPIO Ports Clock Enable */
  __HAL_RCC_GPIOC_CLK_ENABLE();
  __HAL_RCC_GPIOF_CLK_ENABLE();
  __HAL_RCC_GPIOA_CLK_ENABLE();
  __HAL_RCC_GPIOB_CLK_ENABLE();

  /*Configure GPIO pin Output Level */
  HAL_GPIO_WritePin(GPIOC, GPIO_PIN_13|GPIO_PIN_6, GPIO_PIN_RESET);

  /*Configure GPIO pin Output Level */
  HAL_GPIO_WritePin(GPIOB, GPIO_PIN_1|GPIO_PIN_11|GPIO_PIN_4|GPIO_PIN_9, GPIO_PIN_RESET);

  /*Configure GPIO pins : PC13 PC6 */
  GPIO_InitStruct.Pin = GPIO_PIN_13|GPIO_PIN_6;
  GPIO_InitStruct.Mode = GPIO_MODE_OUTPUT_PP;
  GPIO_InitStruct.Pull = GPIO_NOPULL;
  GPIO_InitStruct.Speed = GPIO_SPEED_FREQ_LOW;
  HAL_GPIO_Init(GPIOC, &GPIO_InitStruct);

  /*Configure GPIO pins : PA0 PA1 PA4 PA5
                           PA6 */
  GPIO_InitStruct.Pin = GPIO_PIN_0|GPIO_PIN_1|GPIO_PIN_4|GPIO_PIN_5
                          |GPIO_PIN_6;
  GPIO_InitStruct.Mode = GPIO_MODE_INPUT;
  GPIO_InitStruct.Pull = GPIO_NOPULL;
  HAL_GPIO_Init(GPIOA, &GPIO_InitStruct);

  /*Configure GPIO pins : PB1 PB11 PB4 PB9 */
  GPIO_InitStruct.Pin = GPIO_PIN_1|GPIO_PIN_11|GPIO_PIN_4|GPIO_PIN_9;
  GPIO_InitStruct.Mode = GPIO_MODE_OUTPUT_PP;
  GPIO_InitStruct.Pull = GPIO_NOPULL;
  GPIO_InitStruct.Speed = GPIO_SPEED_FREQ_LOW;
  HAL_GPIO_Init(GPIOB, &GPIO_InitStruct);

  /*Configure GPIO pin : PB3 */
  GPIO_InitStruct.Pin = GPIO_PIN_3;
  GPIO_InitStruct.Mode = GPIO_MODE_INPUT;
  GPIO_InitStruct.Pull = GPIO_NOPULL;
  HAL_GPIO_Init(GPIOB, &GPIO_InitStruct);

}

/* USER CODE BEGIN 4 */
void HAL_UART_RxCpltCallback(UART_HandleTypeDef *huart)
{
    /* ---- UART4: joystick data ---- */
    if (huart->Instance == UART4)
    {
        uint8_t b = Rx_buff[rx_index];

        if (b == '\n' || b == '\r')
        {
            Rx_buff[rx_index] = '\0';
            rx_index = 0;
            uart_line_ready = 1;
        }
        else
        {
            if (rx_index < sizeof(Rx_buff) - 2)
                rx_index++;
            else
                rx_index = 0;   /* overflow guard */
        }
        HAL_UART_Receive_IT(&huart4, (uint8_t*)&Rx_buff[rx_index], 1);
    }

    /* ---- USART1: TFMini LIDAR 1 ---- */
    else if (huart->Instance == USART1)
    {
        static uint8_t state1 = 0;
        switch (state1)
        {
            case 0:
                if (rx1_byte == 0x59) { tf1_frame[0] = rx1_byte; state1 = 1; }
                break;
            case 1:
                if (rx1_byte == 0x59) { tf1_frame[1] = rx1_byte; tf1_index = 2; state1 = 2; }
                else                  { state1 = 0; }
                break;
            case 2:
                tf1_frame[tf1_index++] = rx1_byte;
                if (tf1_index >= 9)
                {
                    uint8_t sum = 0;
                    for (int i = 0; i < 8; i++) sum += tf1_frame[i];
                    if (sum == tf1_frame[8])
                    {
                        distance1_mm = (uint16_t)(tf1_frame[2] | (tf1_frame[3] << 8)) * 10;
                        tf1_ready = 1;
                    }
                    state1 = 0;
                }
                break;
        }
        HAL_UART_Receive_IT(&huart1, &rx1_byte, 1);
    }

    /* ---- USART2: TFMini LIDAR 2 ---- */
    else if (huart->Instance == USART2)
    {
        static uint8_t state2 = 0;
        switch (state2)
        {
            case 0:
                if (rx2_byte == 0x59) { tf2_frame[0] = rx2_byte; state2 = 1; }
                break;
            case 1:
                if (rx2_byte == 0x59) { tf2_frame[1] = rx2_byte; tf2_index = 2; state2 = 2; }
                else                  { state2 = 0; }
                break;
            case 2:
                tf2_frame[tf2_index++] = rx2_byte;
                if (tf2_index >= 9)
                {
                    uint8_t sum = 0;
                    for (int i = 0; i < 8; i++) sum += tf2_frame[i];
                    if (sum == tf2_frame[8])
                    {
                        distance2_mm = (uint16_t)(tf2_frame[2] | (tf2_frame[3] << 8)) * 10;
                        tf2_ready = 1;
                    }
                    state2 = 0;
                }
                break;
        }
        HAL_UART_Receive_IT(&huart2, &rx2_byte, 1);
    }
}
/* USER CODE END 4 */

void Error_Handler(void)
{
  __disable_irq();
  while (1)
  {
  }
}
